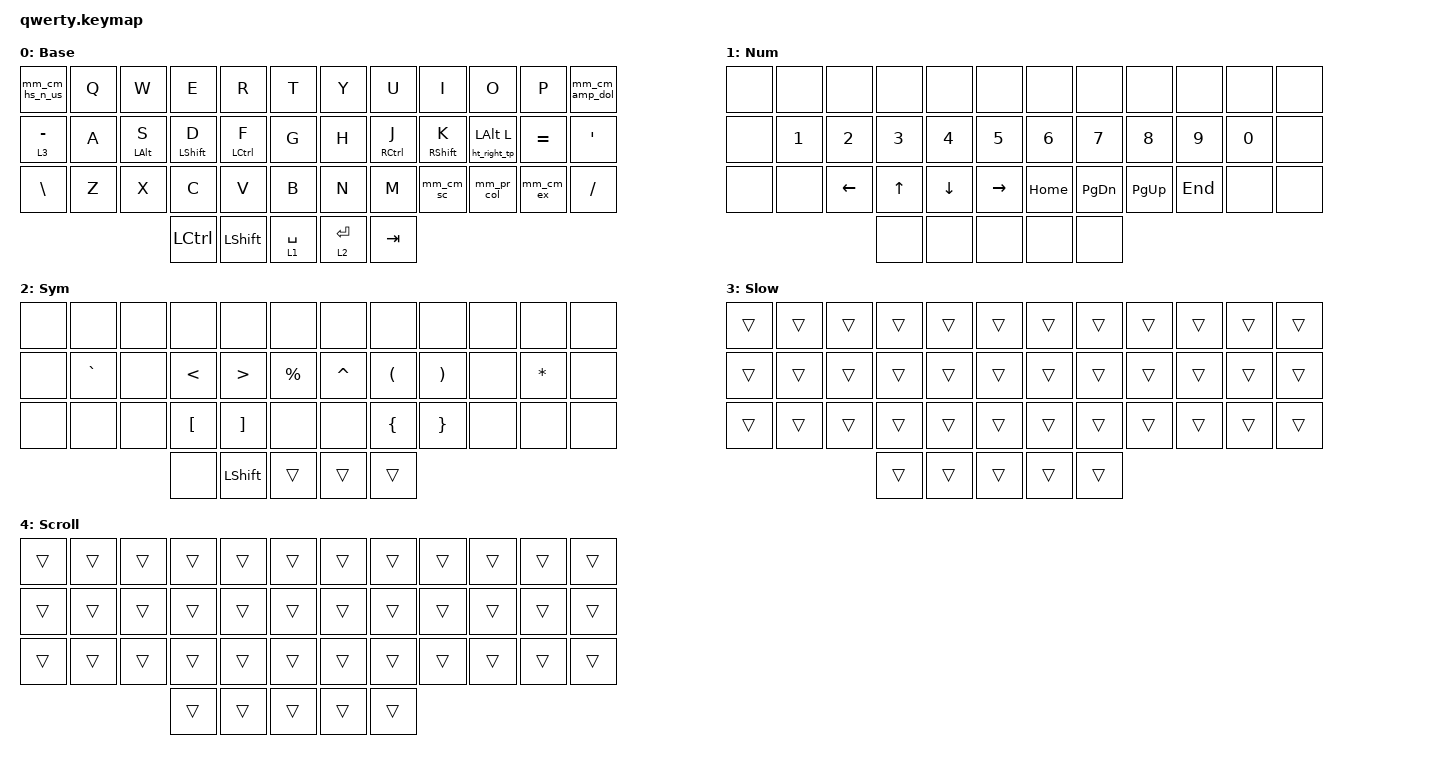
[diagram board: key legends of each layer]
/* upstream bindings and behaviors */
#include <behaviors.dtsi>
#include <dt-bindings/zmk/bt.h>
#include <dt-bindings/zmk/keys.h>
#include <dt-bindings/zmk/mouse.h>
#include <dt-bindings/zmk/outputs.h>
#include <behaviors/mouse_keys.dtsi>
#include <dt-bindings/zmk/ext_power.h>

/* local overlays */
#include "keymap_features/prospector_brightness.dtsi"
#include "keymap_features/macros.dtsi"
#include "keymap_features/behaviors.dtsi"
#include "keymap_features/combos.dtsi"

/ {
/* --- KEYMAP CONFIG --- */
// ╭──────┬──────┬──────┬──────┬──────┬──────╮  ╭──────┬──────┬──────┬──────┬──────┬──────╮
//    00     01     02     03    04      05        06     07     08     09     10     11
// ├──────┼──────┼──────┼──────┼──────┼──────┤  ├──────┼──────┼──────┼──────┼──────┼──────┤
//    12     13     14     15    16      17        18     19     20     21     22     23
// ├──────┼──────┼──────┼──────┼──────┼──────┤  ├──────┼──────┼──────┼──────┼──────┼──────┤
//    24     25     26     27    28      29        30     31     32     33     34     35
// ╰──────┴──────┴──────┼──────┼──────┼──────┤  ├──────┼──────┼──────┴──────┴──────┴──────╯
//                         36     37     38        39     40
//                      ╰──────┴──────┴──────╯  ╰──────┴──────╯
// #define BASE    0
// #define NUM     1
// #define SYM     2
// #define SLOW    3
// #define SCROLL  4

// This shared keymap builds for prospector and non-prospector firmwares. 
// This stubs the key bindings that are contained in the prospector module
// so non-prospector firmware can build.
#ifndef CONFIG_SHIELD_PROSPECTOR_ADAPTER
    behaviors {
        /omit-if-no-ref/ pbl: prospector_brightness_stub {
            compatible = "zmk,behavior-macro-two-param";
            #binding-cells = <2>;
            bindings = <&none>;
        };
    };
#endif

    keymap {
        compatible = "zmk,keymap";
        BASE {
            display-name = "Base";
            bindings = <
// ╭───────────────┬────────────────┬────────────────┬─────────────────┬─────────────────┬──────╮  ╭──────┬──────────────────┬──────────────────┬─────────────────┬─────────────────┬─────────────╮
    &mm_cm_hs_n_us   &kp Q            &kp W            &kp E             &kp R             &kp T    &kp Y   &kp U              &kp I              &kp O                &kp P          &mm_cm_amp_dol
// ├───────────────┼────────────────┼────────────────┼─────────────────┼─────────────────┼──────┤  ├──────┼──────────────────┼──────────────────┼─────────────────┼─────────────────┼─────────────┤
    &lt 3 MINUS      &kp A   &ht_left LALT S  &ht_left LSHFT D  &ht_left LCTRL F           &kp G    &kp H   &ht_right RCTRL J  &ht_right RSHFT K  &ht_right_tp LALT L  &kp EQUAL      &kp APOS
// ├───────────────┼────────────────┼────────────────┼─────────────────┼─────────────────┼──────┤  ├──────┼──────────────────┼──────────────────┼─────────────────┼─────────────────┼─────────────┤
    &kp BACKSLASH    &kp Z            &kp X            &kp C             &kp V             &kp B    &kp N   &kp M              &mm_cm_sc          &mm_pr_col           &mm_cm_ex      &kp FSLH
// ╰───────────────┴────────────────┴────────────────┼─────────────────┼─────────────────┼──────┤  ├──────┼──────────────────┼──────────────────┴─────────────────┴─────────────────┴─────────────╯
                                                             &kp LCTRL   &kp LSHIFT   &lt 1 SPACE   &lt 2 RET  &kp TAB
                                                         // ╰──────────────────┴─────────┴──────╯  ╰──────────┴──────────────╯
            >;
        };

        NUM {
            display-name = "Num";
            bindings = <
&none    &none          &none           &none         &none           &none          &none          &none          &none          &none          &none          &none
&none    &kp NUMBER_1   &kp NUMBER_2    &kp NUMBER_3  &kp NUMBER_4    &kp NUMBER_5   &kp NUMBER_6   &kp NUMBER_7   &kp NUMBER_8   &kp NUMBER_9   &kp NUMBER_0   &none
&none    &none          &kp LEFT        &kp UP        &kp DOWN        &kp RIGHT      &kp HOME       &kp PG_DN      &kp PG_UP      &kp END        &none          &none
                                        &none         &none           &none          &none          &none
            >;
        };

        SYM {
            display-name = "Sym";
            bindings = <
&none  &none      &none     &none      &none      &none      &none      &none         &none        &none        &none      &none
&none  &kp GRAVE  &none     &kp LT     &kp GT     &kp PRCNT  &kp CARET  &kp LPAR      &kp RPAR     &none        &kp ASTRK  &none
&none  &none      &none     &kp LBKT   &kp RBKT   &none      &none      &kp LBRC      &kp RBRC     &none        &none      &none
                            &none      &kp LSHIFT &trans     &trans     &trans
            >;
        };

        SLOW {
            display-name = "Slow";
            bindings = <
    &trans    &trans   &trans   &trans   &trans   &trans      &trans   &trans   &trans   &trans   &trans   &trans
    &trans    &trans   &trans   &trans   &trans   &trans      &trans   &trans   &trans   &trans   &trans   &trans
    &trans    &trans   &trans   &trans   &trans   &trans      &trans   &trans   &trans   &trans   &trans   &trans
                                  &trans   &trans   &trans      &trans   &trans
            >;
        };

        SCROLL {
            display-name = "Scroll";
            bindings = <
    &trans    &trans   &trans   &trans   &trans   &trans      &trans   &trans   &trans   &trans   &trans   &trans
    &trans    &trans   &trans   &trans   &trans   &trans      &trans   &trans   &trans   &trans   &trans   &trans
    &trans    &trans   &trans   &trans   &trans   &trans      &trans   &trans   &trans   &trans   &trans   &trans
                                  &trans   &trans   &trans      &trans   &trans
            >;
        };
    };
};
